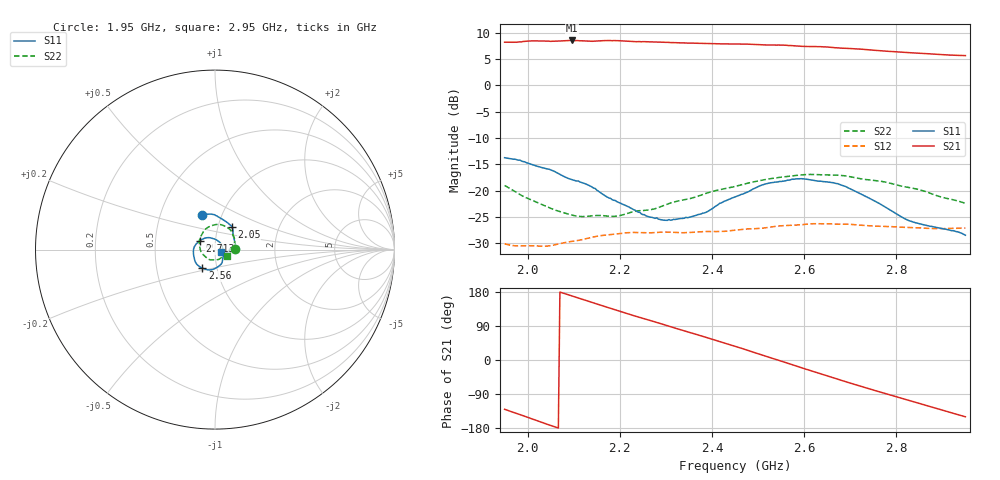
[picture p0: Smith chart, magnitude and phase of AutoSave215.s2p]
!Agilent N9923A: A.07.32
!Date: Thursday, 02 June 2016 02:44:26
!Model: N9923A
!Serial: MY52412257
!GPS Latitude:
!GPS Longitude:
!GPS TimeStamp: 0001-01-01 00:00:00Z
!GPS Seconds Since Last Read: 0
!CHECKSUM:0557572891
!Correction: S11(ON U)S21(ON U)S12(ON U)S22(ON U)
!S2P File: Measurements:S11,S21,S12,S22:
# Hz S DB R 50
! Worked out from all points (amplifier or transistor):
!   301 points, 1.95 GHz to 2.95 GHz, reference 50 ohm
!   highest |S21| = 8.5 dB at 2.097 GHz (marker M1)
!   |S21| within 3 dB of that: start of sweep to end of sweep
!   unconditionally stable (mu >= 1): start of sweep to end of sweep
!   at 2.117 GHz: K = 5.45, MAG = 8.5 dB, |S12| = -29.3 dB
!   at 2.45 GHz: K = 4.73, MAG = 8.0 dB, |S12| = -27.5 dB
!   at 2.95 GHz: K = 5.90, MAG = 5.7 dB, |S12| = -27.1 dB
!   S11 on the Smith chart (normalised r, x): 1.95 GHz: 0.81, +0.33; 2.05 GHz: 1.16, +0.30; 2.56 GHz: 0.85, -0.18; 2.713 GHz: 0.84, +0.08; 2.95 GHz: 1.07, -0.03
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1.95e9  -13.74 109.8  8.19 -130.1  -30.07 -166.8  -19.02 1.7
2.01e9  -15.05 79.2  8.43 -155.7  -30.43 177.3  -21.82 -19.7
2.05e9  -16.05 53.7  8.35 -172.7  -30.41 168.0  -23.33 -32.8
2.096667e9  -17.92 37.1  8.52 168.7  -29.60 154.4  -24.63 -46.1
2.12e9  -18.50 23.7  8.44 159.4  -29.25 147.2  -24.90 -55.4
2.166667e9  -20.88 6.7  8.49 141.4  -28.43 128.9  -24.76 -77.0
2.203333e9  -22.43 -8.0  8.45 127.2  -28.09 114.8  -24.64 -100.6
2.25e9  -24.53 -17.1  8.29 109.9  -27.96 95.2  -23.75 -129.9
2.286667e9  -25.44 -22.9  8.20 96.7  -27.87 82.1  -23.09 -153.3
2.33e9  -25.30 -32.7  8.07 80.6  -27.94 65.6  -21.88 -175.3
2.37e9  -24.51 -36.9  7.99 66.2  -27.82 52.9  -21.02 165.4
2.406667e9  -23.01 -52.8  7.90 52.3  -27.73 39.6  -20.00 150.8
2.453333e9  -21.03 -68.0  7.86 35.0  -27.44 24.6  -19.10 132.9
2.5e9  -19.22 -94.3  7.71 16.5  -27.16 7.7  -18.14 116.9
2.56e9  -18.10 -124.1  7.61 -6.8  -26.59 -14.7  -17.32 94.9
2.62e9  -18.04 -156.9  7.36 -30.3  -26.25 -38.6  -16.91 74.2
2.663333e9  -18.47 178.3  7.18 -47.1  -26.30 -56.5  -17.02 58.7
2.713333e9  -20.19 150.0  6.93 -65.9  -26.46 -76.7  -17.58 42.0
2.783333e9  -23.47 106.6  6.45 -91.1  -26.79 -101.5  -18.49 21.4
2.86e9  -26.46 51.7  6.05 -118.3  -27.09 -127.9  -20.04 -1.8
2.9e9  -27.19 16.9  5.82 -132.6  -27.18 -140.5  -21.23 -13.5
2.95e9  -28.44 -21.8  5.64 -149.8  -27.08 -156.6  -22.42 -30.1
